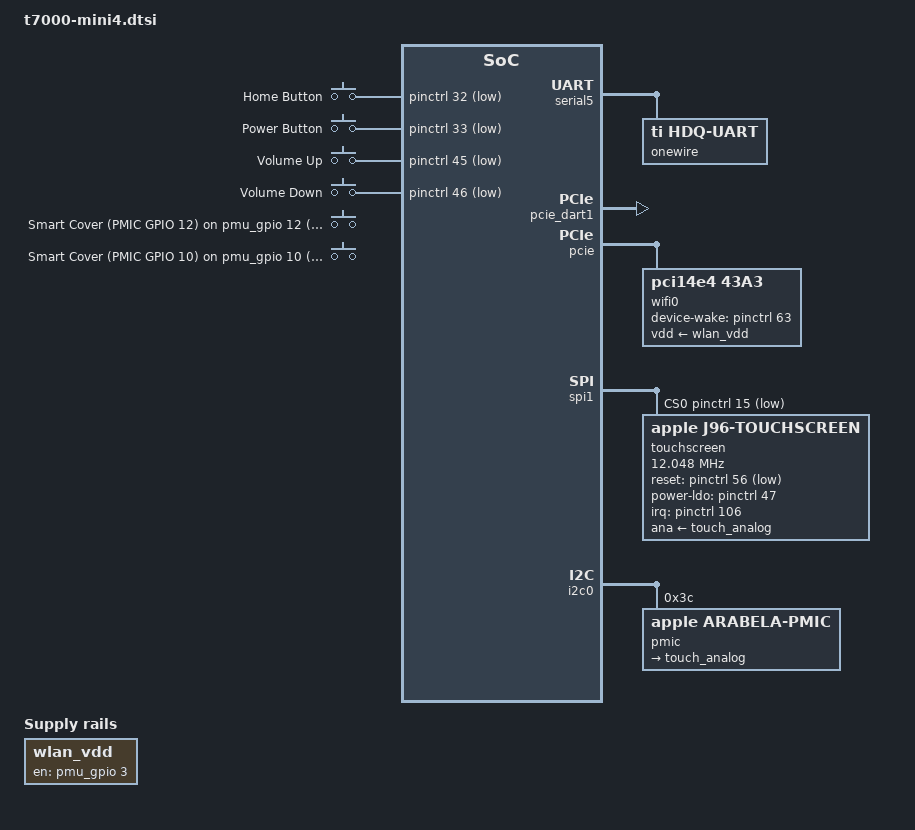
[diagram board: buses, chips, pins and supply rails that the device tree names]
// SPDX-License-Identifier: GPL-2.0+ OR MIT
/*
 * Apple iPad mini 4 common device tree
 *
 * Copyright (c) 2022, Konrad Dybcio <konradybcio@kernel.org>
 */

#include "t7000.dtsi"
#include "t7000-common.dtsi"
#include "t7000-handheld.dtsi"
#include <dt-bindings/input/input.h>

/ {
	chassis-type = "tablet";

	aliases {
		serial5 = &serial5;
		touchscreen0 = &touchscreen;
		wifi0 = &wifi0;
	};

	/* Wi-Fi REG_ON is D2207 GPIO 3. */
	wlan_vdd: regulator-wlan-vdd {
		compatible = "regulator-fixed";
		regulator-name = "wlan-vdd";
		gpio = <&pmu_gpio 3 GPIO_ACTIVE_HIGH>;
		enable-active-high;
		off-on-delay-us = <100000>;
	};

	gpio-keys {
		compatible = "gpio-keys";

		button-home {
			label = "Home Button";
			gpios = <&pinctrl 32 GPIO_ACTIVE_LOW>;
			linux,code = <KEY_HOMEPAGE>;
			wakeup-source;
		};

		button-power {
			label = "Power Button";
			gpios = <&pinctrl 33 GPIO_ACTIVE_LOW>;
			linux,code = <KEY_POWER>;
			wakeup-source;
		};

		button-volup {
			label = "Volume Up";
			gpios = <&pinctrl 45 GPIO_ACTIVE_LOW>;
			linux,code = <KEY_VOLUMEUP>;
		};

		button-voldown {
			label = "Volume Down";
			gpios = <&pinctrl 46 GPIO_ACTIVE_LOW>;
			linux,code = <KEY_VOLUMEDOWN>;
		};
	};

	/*
	 * Smart Cover hall sensors: PMIC GPIO 12 ("halleffect") and 10
	 * ("halleffect1") in the ADT /buttons node, with the same flags as on
	 * the iPad 6, where both read low while the cover is closed. Reported
	 * as SW_MACHINE_COVER, not as a lid switch, so that closing the cover
	 * doesn't suspend the system. Each line is its own device, so that
	 * one the PMIC keeps for itself can't take the other down.
	 */
	smart-cover {
		compatible = "gpio-keys-polled";
		poll-interval = <50>;
		label = "iPad Smart Cover";

		cover-switch {
			label = "Smart Cover (PMIC GPIO 12)";
			gpios = <&pmu_gpio 12 GPIO_ACTIVE_LOW>;
			linux,input-type = <EV_SW>;
			linux,code = <SW_MACHINE_COVER>;
			debounce-interval = <50>;
		};
	};

	smart-cover-aux {
		compatible = "gpio-keys-polled";
		poll-interval = <50>;
		label = "iPad Smart Cover 2";

		cover-switch {
			label = "Smart Cover (PMIC GPIO 10)";
			gpios = <&pmu_gpio 10 GPIO_ACTIVE_LOW>;
			linux,input-type = <EV_SW>;
			linux,code = <SW_MACHINE_COVER>;
			debounce-interval = <50>;
		};
	};
};

/* The bq27540 gauge on UART5's HDQ line (ADT uart5/gas-gauge). */
&serial5 {
	pinctrl-0 = <&uart5_pins>;
	pinctrl-names = "default";
	status = "okay";

	onewire {
		compatible = "ti,hdq-uart";

		fuel-gauge {
			compatible = "ti,bq27540-hdq";
		};
	};
};

&pcie_dart1 {
	status = "okay";
};

/*
 * The BCM4350 on root port 1 (ADT apcie/pci-bridge1): PERST# GPIO 77,
 * DEVICE_WAKE GPIO 63, Gen1. Port 0 has nothing attached on either model;
 * the J97's baseband is not on PCIe. CLKREQ# (GPIO 41) is not described,
 * as on the T7001. Each board names its Wi-Fi module.
 */
&pcie {
	/* ADT dart-apcie1 vm-offset and vm-size; SID 0 */
	iommu-map = <0x100 &pcie_dart1 0 0x0 0x80000000 0x0 0x3ffff000 1>;
	iommu-map-mask = <0xff00>;
	status = "okay";

	pci@1,0 {
		device_type = "pci";
		reg = <0x800 0x0 0x0 0x0 0x0>;
		bus-range = <1 1>;
		reset-gpios = <&pinctrl 77 GPIO_ACTIVE_LOW>;
		max-link-speed = <1>;
		#address-cells = <3>;
		#size-cells = <2>;
		ranges;

		wifi0: wifi@0,0 {
			compatible = "pci14e4,43a3";
			reg = <0x10000 0x0 0x0 0x0 0x0>;
			device-wake-gpios = <&pinctrl 63 GPIO_ACTIVE_HIGH>;
			vdd-supply = <&wlan_vdd>;
			brcm,ccode-map-trivial;
		};
	};
};

/*
 * The N1 touchscreen, from the ADT spi1/multi-touch functions: chip select
 * GPIO 15, reset GPIO 56, interrupt GPIO 106, LDO enable GPIO 47, analog
 * supply pmuL(0x20e) and the PMGR touch clock at 32768 Hz. Its display
 * sync (GPIO 78) stays as iBoot left it. The J97's ADT names its
 * controller multi-touch,j96 too and its J97.mtprops is byte-identical
 * to J96.mtprops, so both models load the J96 firmware.
 */
&spi1 {
	cs-gpios = <&pinctrl 15 GPIO_ACTIVE_LOW>;
	status = "okay";

	touchscreen: touchscreen@0 {
		compatible = "apple,j96-touchscreen";
		reg = <0>;
		/* N1 selects 83 ns; the controller rounds up to divider 5 */
		spi-max-frequency = <12048192>;
		interrupts-extended = <&pinctrl 106 IRQ_TYPE_EDGE_FALLING>;
		reset-gpios = <&pinctrl 56 GPIO_ACTIVE_LOW>;
		power-ldo-gpios = <&pinctrl 47 GPIO_ACTIVE_HIGH>;
		ana-supply = <&touch_analog>;
		clocks = <&touchclk>;
		firmware-name = "apple/j96-fwstart.z2fw";
		touchscreen-size-x = <1536>;
		touchscreen-size-y = <2048>;
		/* Raw Y runs from the bottom of the panel to the top. */
		touchscreen-inverted-y;
	};
};

&touchclk {
	status = "okay";
};

&framebuffer0 {
	power-domains = <&ps_disp0 &ps_dp>;
};

&typhoon_opp06 {
	status = "okay";
};

&typhoon_opp07 {
	status = "okay";
};

&i2c0 {
	status = "okay";

	pmic@3c {
		compatible = "apple,arabela-pmic", "apple,i2c-pmic";
		reg = <0x3c>;
		#address-cells = <1>;
		#size-cells = <1>;

		rtc@5c0 {
			compatible = "apple,arabela-pmic-rtc", "apple,amber-pmic-rtc";
			reg = <0x5c0 0x10>;
			nvmem-cells = <&rtc_offset>;
			nvmem-cell-names = "rtc_offset";
		};

		nvmem@4000 {
			compatible = "apple,pmic-nvmem";
			reg = <0x4000 0x28>;

			nvmem-layout {
				compatible = "fixed-layout";
				#address-cells = <1>;
				#size-cells = <1>;

				rtc_offset: rtc-offset@4 {
					reg = <0x4 0x4>;
				};
			};
		};

		touch_analog: regulator-touch-analog {
			compatible = "apple,d2207-touch-analog-regulator";
			regulator-name = "touch-analog";
		};

		pmu_gpio: gpio {
			compatible = "apple,d2207-pmic-gpio";
			gpio-controller;
			#gpio-cells = <2>;
			/* Only REG_ON (3) is used; the others stay as iBoot left them. */
			gpio-reserved-ranges = <0 3>, <4 6>, <11 1>, <13 8>;
			/* Lines 10 and 12 are the Smart Cover hall sensors. */
		};
	};
};

/* The boot loader set up the display; nothing restores it after power loss. */
&ps_disp0 {
	apple,always-on;
	apple,manual-pm;
};

&ps_dp {
	apple,always-on;
	apple,manual-pm;
};
